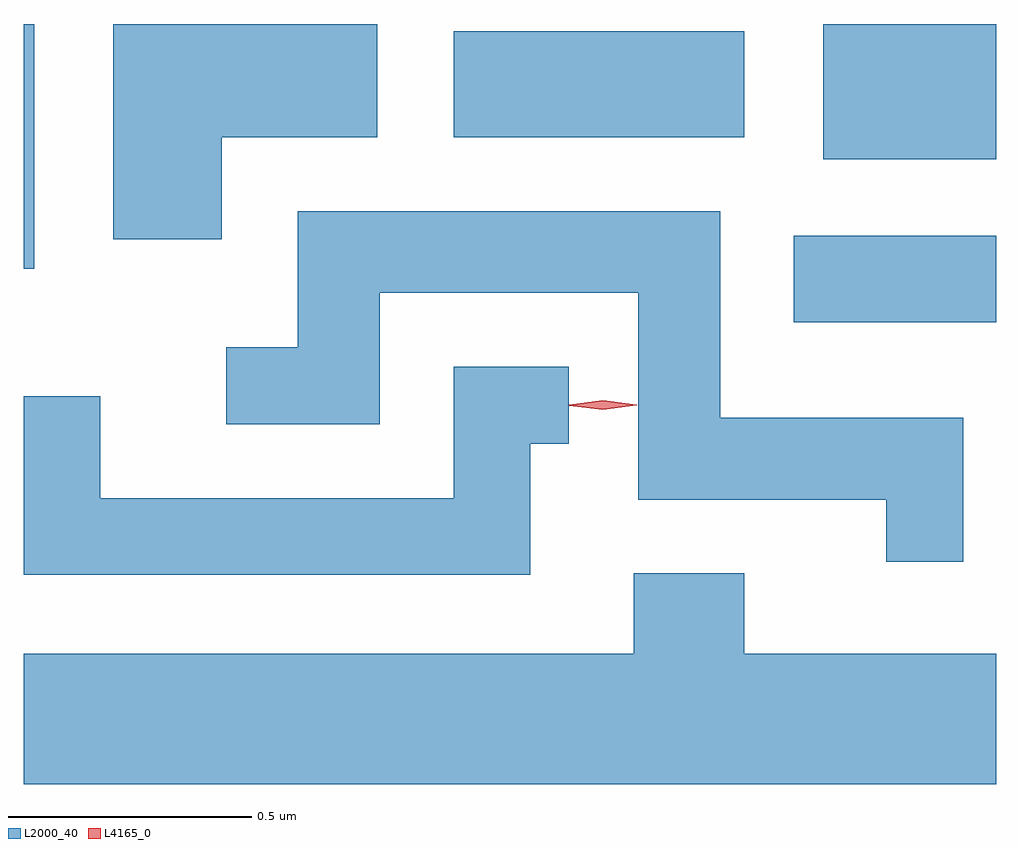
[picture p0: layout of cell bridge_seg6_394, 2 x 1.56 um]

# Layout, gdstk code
import gdstk
lib = gdstk.Library(unit=1e-6, precision=1e-09)
def R(c, l, rs):  # rectangles x0, y0, x1, y1
    for r in rs: c.add(gdstk.rectangle(r[:2], r[2:], *l))
def P(c, l, *ps):  # polygons
    for p in ps: c.add(gdstk.Polygon(p, *l))
L2000_40 = (2000, 40)
L4165_0 = (4165, 0)

bridge_seg6_394 = lib.new_cell('bridge_seg6_394')
R(bridge_seg6_394, L2000_40, [(943.431,1622.026,943.847,1622.204), (941.847,1622.136,941.869,1622.639), (943.491,1622.361,943.847,1622.639), (942.731,1622.406,943.329,1622.624)])
P(bridge_seg6_394, L2000_40, [(942.254,1622.406),(942.574,1622.406),(942.574,1622.639),(942.031,1622.639),(942.031,1622.196),(942.254,1622.196)],
  [(943.779,1621.829),(943.279,1621.829),(943.279,1622.254),(942.411,1622.254),(942.411,1621.974),(942.263,1621.974),(942.263,1621.816),(942.579,1621.816),(942.579,1622.086),(943.111,1622.086),(943.111,1621.661),(943.621,1621.661),(943.621,1621.533),(943.779,1621.533)],
  [(942.889,1621.776),(942.968,1621.776),(942.968,1621.934),(942.731,1621.934),(942.731,1621.664),(942.004,1621.664),(942.004,1621.873),(941.847,1621.873),(941.847,1621.506),(942.889,1621.506)],
  [(943.847,1621.344),(943.329,1621.344),(943.329,1621.509),(943.101,1621.509),(943.101,1621.344),(941.847,1621.344),(941.847,1621.076),(943.847,1621.076)])
P(bridge_seg6_394, L4165_0, [(943.038,1621.846),(942.969,1621.854),(942.969,1621.855),(942.969,1621.856),(943.038,1621.865),(943.108,1621.856),(943.108,1621.856),(943.108,1621.855)])

lib.write_gds('bridge_seg6_394.gds')
